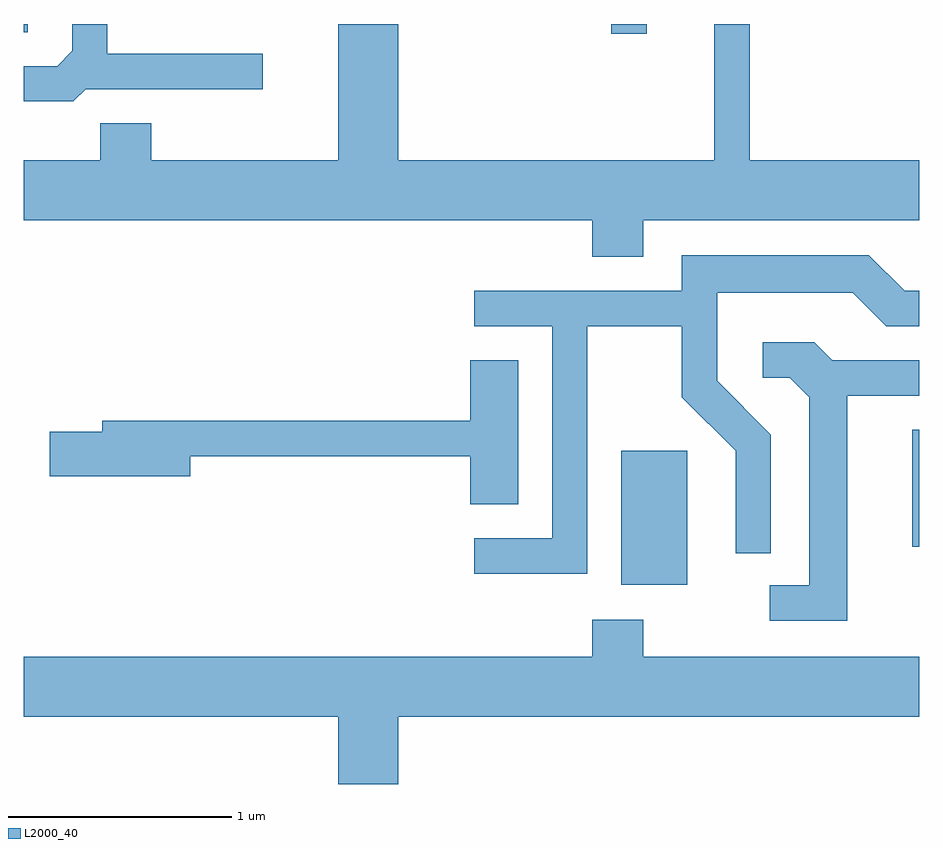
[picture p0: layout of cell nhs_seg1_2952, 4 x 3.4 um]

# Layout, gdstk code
import gdstk
lib = gdstk.Library(unit=1e-6, precision=1e-09)
def R(c, l, rs):  # rectangles x0, y0, x1, y1
    for r in rs: c.add(gdstk.rectangle(r[:2], r[2:], *l))
def P(c, l, *ps):  # polygons
    for p in ps: c.add(gdstk.Polygon(p, *l))
L2000_40 = (2000, 40)

nhs_seg1_2952 = lib.new_cell('nhs_seg1_2952')
R(nhs_seg1_2952, L2000_40, [(276.281,971.206,276.574,971.804), (277.581,971.376,277.611,971.899), (276.236,973.668,276.394,973.712), (273.611,973.676,273.629,973.712)])
P(nhs_seg1_2952, L2000_40, [(277.611,973.104),(276.854,973.104),(276.854,973.712),(276.696,973.712),(276.696,973.104),(275.284,973.104),(275.284,973.712),(275.016,973.712),(275.016,973.104),(274.179,973.104),(274.179,973.269),(273.951,973.269),(273.951,973.104),(273.611,973.104),(273.611,972.836),(276.151,972.836),(276.151,972.671),(276.379,972.671),(276.379,972.836),(277.611,972.836)],
  [(273.887,973.421),(274.678,973.421),(274.678,973.579),(273.984,973.579),(273.984,973.712),(273.826,973.712),(273.826,973.592),(273.759,973.524),(273.611,973.524),(273.611,973.366),(273.832,973.366)],
  [(276.129,972.361),(276.551,972.361),(276.551,972.044),(276.791,971.804),(276.791,971.348),(276.949,971.348),(276.949,971.877),(276.709,972.117),(276.709,972.511),(277.314,972.511),(277.464,972.361),(277.611,972.361),(277.611,972.519),(277.547,972.519),(277.387,972.679),(276.551,972.679),(276.551,972.519),(275.623,972.519),(275.623,972.361),(275.971,972.361),(275.971,971.414),(275.623,971.414),(275.623,971.256),(276.129,971.256)],
  [(277.289,972.051),(277.611,972.051),(277.611,972.209),(277.222,972.209),(277.142,972.289),(276.913,972.289),(276.913,972.131),(277.034,972.131),(277.121,972.044),(277.121,971.204),(276.943,971.204),(276.943,971.046),(277.289,971.046)],
  [(275.819,972.209),(275.606,972.209),(275.606,971.939),(273.961,971.939),(273.961,971.889),(273.726,971.889),(273.726,971.691),(274.354,971.691),(274.354,971.781),(275.606,971.781),(275.606,971.566),(275.819,971.566)],
  [(275.284,970.616),(277.611,970.616),(277.611,970.884),(276.379,970.884),(276.379,971.049),(276.151,971.049),(276.151,970.884),(273.611,970.884),(273.611,970.616),(275.016,970.616),(275.016,970.316),(275.284,970.316)])

lib.write_gds('nhs_seg1_2952.gds')
